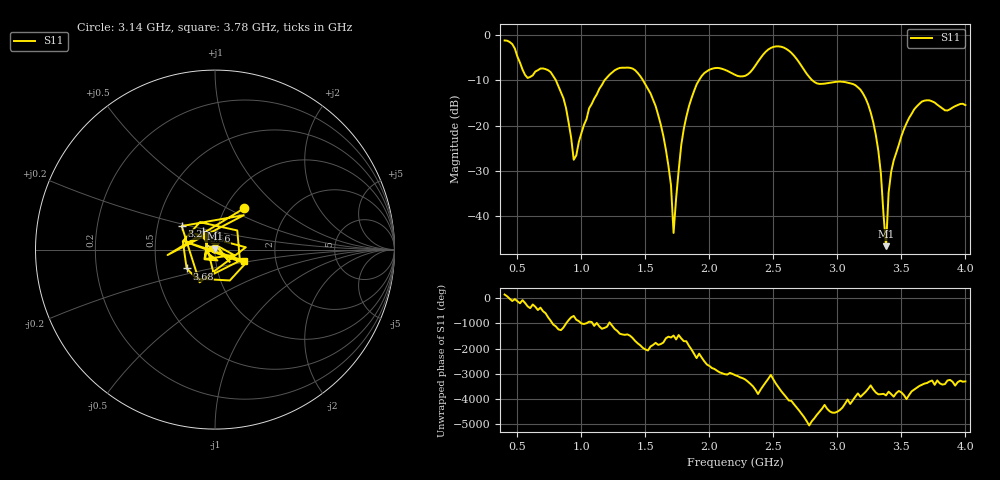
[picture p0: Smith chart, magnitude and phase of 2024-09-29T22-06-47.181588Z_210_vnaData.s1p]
!Created with skrf (http://scikit-rf.org).
# Hz S RI R 50.0
!freq ReS11 ImS11
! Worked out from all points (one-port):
!   181 points, 400 MHz to 4 GHz, reference 50 ohm
!   lowest |S11| = -46.5 dB at 3.38 GHz (marker M1), VSWR 1.01, Z = 49.9 + j0.448 ohm
!   |S11| at or under -10 dB: 801.3 MHz to 1.179 GHz (378.1 MHz wide, 38.2 % of centre); 1.482 GHz to 1.918 GHz (435.7 MHz wide, 25.6 % of centre); 2.806 GHz to end of sweep
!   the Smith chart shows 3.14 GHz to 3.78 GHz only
!   S11 on the Smith chart (normalised r, x): 3.14 GHz: 1.22, +0.61; 3.2 GHz: 0.67, +0.18; 3.56 GHz: 0.86, +0.18; 3.68 GHz: 0.71, -0.16; 3.78 GHz: 1.37, -0.17
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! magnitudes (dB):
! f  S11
! 400 MHz  -1.2
! 580 MHz  -9.4
! 740 MHz  -7.7
! 860 MHz  -13.9
! 940 MHz  -27.5
! 1.06 GHz  -16.1
! 1.3 GHz  -7.2
! 1.58 GHz  -15.6
! 1.68 GHz  -28.9
! 1.72 GHz  -43.6
! 1.76 GHz  -29.8
! 1.82 GHz  -18.0
! 1.92 GHz  -9.9
! 2.2 GHz  -8.7
! 2.5 GHz  -2.6
! 2.66 GHz  -4.5
! 2.84 GHz  -10.6
! 3.1 GHz  -10.6
! 3.14 GHz  -11.0
! 3.2 GHz  -12.9
! 3.32 GHz  -25.5
! 3.38 GHz  -46.5
! 3.4 GHz  -34.8
! 3.42 GHz  -30.2
! 3.56 GHz  -18.3
! 3.68 GHz  -14.4
! 3.78 GHz  -15.3
! 4 GHz  -15.4
